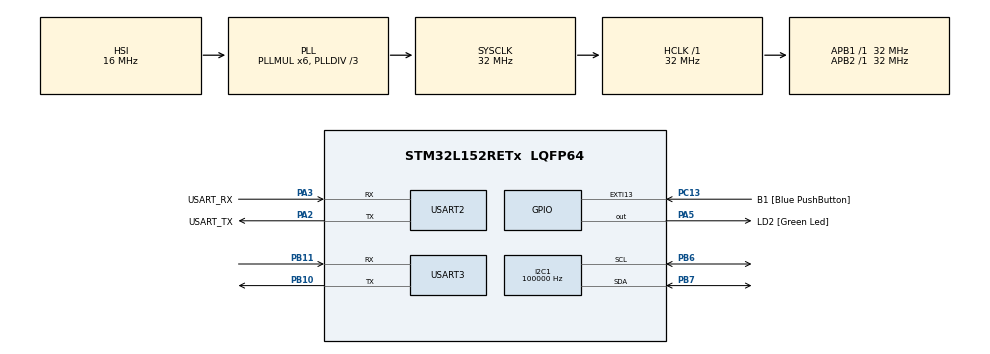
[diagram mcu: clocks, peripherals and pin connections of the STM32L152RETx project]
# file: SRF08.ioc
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I2C1.ClockSpeed=100000
I2C1.I2C_Mode=I2C_Standard
Mcu.Family=STM32L1
Mcu.Name=STM32L152RETx
Mcu.Package=LQFP64
NVIC.PriorityGroup=NVIC_PRIORITYGROUP_0
PA13.GPIO_Label=TMS
PA13.Mode=Serial_Wire
PA13.Signal=SYS_JTMS-SWDIO
PA14.GPIO_Label=TCK
PA14.Mode=Serial_Wire
PA14.Signal=SYS_JTCK-SWCLK
PA2.GPIO_Label=USART_TX
PA2.Mode=Asynchronous
PA2.Signal=USART2_TX
PA3.GPIO_Label=USART_RX
PA3.Mode=Asynchronous
PA3.Signal=USART2_RX
PA5.GPIO_Label=LD2 [Green Led]
PA5.Signal=GPIO_Output
PB10.Mode=Asynchronous
PB10.Signal=USART3_TX
PB11.Mode=Asynchronous
PB11.Signal=USART3_RX
PB3.GPIO_Label=SWO
PB3.Signal=SYS_JTDO-TRACESWO
PB6.GPIO_Pu=GPIO_PULLUP
PB6.Mode=I2C
PB6.Signal=I2C1_SCL
PB7.GPIO_Pu=GPIO_PULLUP
PB7.Mode=I2C
PB7.Signal=I2C1_SDA
PC13-WKUP2.GPIO_Label=B1 [Blue PushButton]
PC13-WKUP2.Signal=GPXTI13
PC14-OSC32_IN.Mode=LSE-External-Oscillator
PC14-OSC32_IN.Signal=RCC_OSC32_IN
PC15-OSC32_OUT.Mode=LSE-External-Oscillator
PC15-OSC32_OUT.Signal=RCC_OSC32_OUT
PH0-OSC_IN.Mode=HSE-External-Clock-Source
PH0-OSC_IN.Signal=RCC_OSC_IN
PH1-OSC_OUT.Signal=RCC_OSC_OUT
ProjectManager.HeapSize=0x200
ProjectManager.StackSize=0x400
ProjectManager.TargetToolchain=STM32CubeIDE
RCC.48MHZClocksFreq_Value=48000000
RCC.AHBFreq_Value=32000000
RCC.APB1Freq_Value=32000000
RCC.APB1TimFreq_Value=32000000
RCC.APB2Freq_Value=32000000
RCC.APB2TimFreq_Value=32000000
RCC.HCLKFreq_Value=32000000
RCC.HSE_VALUE=8000000
RCC.HSI_VALUE=16000000
RCC.MSI_VALUE=2097000
RCC.PLLDIV=RCC_PLL_DIV3
RCC.PLLMUL=RCC_PLL_MUL6
RCC.RTCClockSelectionVirtual=RCC_RTCCLKSOURCE_LSE
RCC.SYSCLKFreq_VALUE=32000000
RCC.SYSCLKSource=RCC_SYSCLKSOURCE_PLLCLK
RCC.USBOutput=48000000
RCC.VCOOutputFreq_Value=96000000
USART2.VirtualMode=VM_ASYNC
USART3.VirtualMode=VM_ASYNC
board=NUCLEO-L152RE

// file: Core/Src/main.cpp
/* USER CODE BEGIN Header */
/**
  ******************************************************************************
  * @file           : main.c
  * @brief          : Main program body
  ******************************************************************************
  * @attention
  *
  * Copyright (c) 2025 STMicroelectronics.
  * All rights reserved.
  *
  * This software is licensed under terms that can be found in the LICENSE file
  * in the root directory of this software component.
  * If no LICENSE file comes with this software, it is provided AS-IS.
  *
  ******************************************************************************
  */
/* USER CODE END Header */
#include "main.h"
#include "i2c.h"
#include "usart.h"
#include "gpio.h"

/* USER CODE BEGIN Includes */
#include <cstdio>
#include <cstring>
/* USER CODE END Includes */

/* USER CODE BEGIN PD */
#define srf1 0xE4
/* USER CODE END PD */

void SystemClock_Config(void);
/* USER CODE BEGIN PFP */
void SRF08_ChangeI2CAddress(uint8_t new_address) {
	if (new_address < 0xE0 || new_address > 0xFE || (new_address & 0x01) != 0) return;

    uint8_t cmd[2] = {0x00, 0xA0};

    HAL_I2C_Master_Transmit(&hi2c1, srf1, cmd, 2, HAL_MAX_DELAY);
    HAL_Delay(10);

    cmd[1]=0xAA;
    HAL_I2C_Master_Transmit(&hi2c1, srf1, cmd, 2, HAL_MAX_DELAY);
    HAL_Delay(10);

    cmd[1]=0xA5;
    HAL_I2C_Master_Transmit(&hi2c1, srf1, cmd, 2, HAL_MAX_DELAY);
    HAL_Delay(10);

    cmd[1]=new_address;
    HAL_I2C_Master_Transmit(&hi2c1, srf1, cmd, 2, HAL_MAX_DELAY);
    HAL_Delay(10);
}

uint16_t SRF08_GetDistance(){
	uint8_t command[]={0x00, 0x51};
	uint8_t reg = 0x10;

	HAL_I2C_Master_Transmit(&hi2c1, srf1, command, sizeof(command), HAL_MAX_DELAY);
	HAL_Delay(70);
	HAL_I2C_Master_Transmit(&hi2c1, srf1, &reg, 1, 100);

	uint8_t data[2] = {0,};
	HAL_I2C_Master_Receive(&hi2c1, srf1, data, 2, 100);

	return (data[0] << 8) | data[1];
}
/* USER CODE END PFP */

int main(void)
{

  /* MCU Configuration--------------------------------------------------------*/

  /* Reset of all peripherals, Initializes the Flash interface and the Systick. */
  HAL_Init();

  /* Configure the system clock */
  SystemClock_Config();

  /* Initialize all configured peripherals */
  MX_GPIO_Init();
  MX_USART2_UART_Init();
  MX_I2C1_Init();
  MX_USART3_UART_Init();
  /* USER CODE BEGIN 2 */
//  SRF08_ChangeI2CAddress(0xE4);		// change address

  /* USER CODE END 2 */

  /* Infinite loop */
  /* USER CODE BEGIN WHILE */
  while (1)
  {
	  char buff[10]={0,};
	  sprintf(buff,"%u cm\n", SRF08_GetDistance());			// receive SRF08 distance data
	  HAL_UART_Transmit(&huart3, (uint8_t *)buff, sizeof(buff), HAL_MAX_DELAY);

	  HAL_Delay(430);
    /* USER CODE END WHILE */

  }
}

void SystemClock_Config(void)
{
  RCC_OscInitTypeDef RCC_OscInitStruct = {0};
  RCC_ClkInitTypeDef RCC_ClkInitStruct = {0};

  /** Configure the main internal regulator output voltage
  */
  __HAL_PWR_VOLTAGESCALING_CONFIG(PWR_REGULATOR_VOLTAGE_SCALE1);

  /** Initializes the RCC Oscillators according to the specified parameters
  * in the RCC_OscInitTypeDef structure.
  */
  RCC_OscInitStruct.OscillatorType = RCC_OSCILLATORTYPE_HSI;
  RCC_OscInitStruct.HSIState = RCC_HSI_ON;
  RCC_OscInitStruct.HSICalibrationValue = RCC_HSICALIBRATION_DEFAULT;
  RCC_OscInitStruct.PLL.PLLState = RCC_PLL_ON;
  RCC_OscInitStruct.PLL.PLLSource = RCC_PLLSOURCE_HSI;
  RCC_OscInitStruct.PLL.PLLMUL = RCC_PLL_MUL6;
  RCC_OscInitStruct.PLL.PLLDIV = RCC_PLL_DIV3;
  if (HAL_RCC_OscConfig(&RCC_OscInitStruct) != HAL_OK)
  {
    Error_Handler();
  }

  /** Initializes the CPU, AHB and APB buses clocks
  */
  RCC_ClkInitStruct.ClockType = RCC_CLOCKTYPE_HCLK|RCC_CLOCKTYPE_SYSCLK
                              |RCC_CLOCKTYPE_PCLK1|RCC_CLOCKTYPE_PCLK2;
  RCC_ClkInitStruct.SYSCLKSource = RCC_SYSCLKSOURCE_PLLCLK;
  RCC_ClkInitStruct.AHBCLKDivider = RCC_SYSCLK_DIV1;
  RCC_ClkInitStruct.APB1CLKDivider = RCC_HCLK_DIV1;
  RCC_ClkInitStruct.APB2CLKDivider = RCC_HCLK_DIV1;

  if (HAL_RCC_ClockConfig(&RCC_ClkInitStruct, FLASH_LATENCY_1) != HAL_OK)
  {
    Error_Handler();
  }
}

void Error_Handler(void)
{
  __disable_irq();
  while (1)
  {
  }
}
